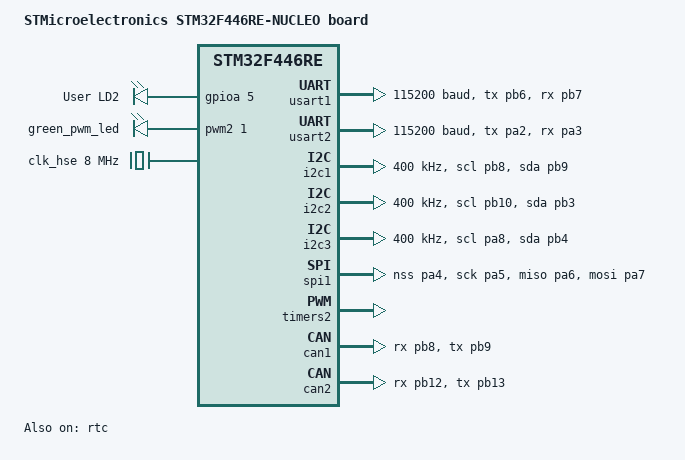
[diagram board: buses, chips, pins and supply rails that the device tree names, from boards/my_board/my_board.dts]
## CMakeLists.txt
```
cmake_minimum_required(VERSION 3.20.0)

list(APPEND BOARD_ROOT ${CMAKE_CURRENT_SOURCE_DIR})
# Find the Zephyr package using the environment variable
find_package(Zephyr REQUIRED HINTS $ENV{ZEPHYR_BASE})

project(zephyr_course_app)

# Add your source files (using main.cpp since you created a C++ file earlier)
target_sources(app PRIVATE 
                    src/main.c
                    
                    )
```

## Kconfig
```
config APP_HEARTBEAT_PERIOD_MS
int "Heart Beat LED periodin (MS)"
default 500 
range 100 2000








source "Kconfig.zephyr"

# menuconfig LED_SUBSYSTEM
# bool "Led Subsystem"
# default y
# help 
#     Enable led subsystem 
# if LED_SUBSYSTEM
# choice LED_BLINK_TIME
#     prompt "LED Blink sleep time"
#     default BLINK_1S

# config BLINK_250MS
#     bool "250ms (Fast)"

# config BLINK_500MS
#     bool "500ms"

# config BLINK_1S
#     bool "1s (mediun)"
    

# config BLINK_2S
#     bool "2 (Slow)"

# endchoice

# config BLINK_SLEEP_TIME_MS
#     int 
#     default 250 if BLINK_250MS
#     default 500 if BLINK_500MS
#     default 1000 if BLINK_1S
#     default 2000 if BLINK_2S

# menuconfig LED_ADVANCED
# bool "Advanced LED Settings"
# if LED_ADVANCED
# config LED_BRIGHTNESS
#     int "LED brightness (0-100)"
#     range 0 100
#     default 100

# config LED_FADE_MS
#     int "LED fade duration (ms)"
#     range 0 5000
#     default 500
# endif 
# menu "Expert settings"
#     visible if LED_ADVANCED 

# config LED_DEBUG
#     bool "ENable LEd Debugging"


# config LED_CUSTOM_PATTERN 
#     bool "Custom blink pattern"
# endmenu
# endif


# choice 
#     prompt "Led blink speed"
#     default BLINK_SPEEED_1000MS

# config BLINK_SPEEED_250MS
#     bool "fast"

# config BLINK_SPEEED_1000MS
#     bool "medium"

# config BLINK_SPEEED_2000MS
#     bool "Slow"


# endchoice 





# config BLINK_SLEEP_TIME_MS
#     int 
#     default 250 if BLINK_SPEEED_250MS
#     default 1000 if BLINK_SPEEED_1000MS
#     default 2000 if BLINK_SPEEED_2000MS
#     default 0
```

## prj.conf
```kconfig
CONFIG_GPIO=y
CONFIG_LOG=y


# CONFIG_BLINK_1S=y

##that cause error because it hidden 
##CONFIG_BLINK_SLEEP_TIME_MS=1000
```

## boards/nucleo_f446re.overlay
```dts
&leds {
    blue_led: led_3 {
        gpios = <&gpioa 6 GPIO_ACTIVE_HIGH>;
    };
    red_led: led_5 {
        gpios = <&gpioa 7 GPIO_ACTIVE_HIGH>;
    };
};
```

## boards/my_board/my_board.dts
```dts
/*
 * Copyright (c) 2018 Philémon Jaermann
 *
 * SPDX-License-Identifier: Apache-2.0
 */

/dts-v1/;
#include <st/f4/stm32f446Xe.dtsi>
#include <st/f4/stm32f446r(c-e)tx-pinctrl.dtsi>

#include <zephyr/dt-bindings/input/input-event-codes.h>

/ {
	model = "STMicroelectronics STM32F446RE-NUCLEO board";
	compatible = "st,stm32f446re-nucleo";

	chosen {
		zephyr,console = &usart2;
		zephyr,shell-uart = &usart2;
		zephyr,sram = &sram0;
		zephyr,flash = &flash0;
		
		zephyr,code-partition = &slot0_partition;
	};

	leds: leds {
		compatible = "gpio-leds";

		green_led_2: led_2 {
			gpios = <&gpioa 5 GPIO_ACTIVE_HIGH>;
			label = "User LD2";
		};
	};

	pwmleds {
		compatible = "pwm-leds";

		green_pwm_led: green_pwm_led {
			pwms = <&pwm2 1 PWM_MSEC(20) PWM_POLARITY_NORMAL>;
		};
	};

	

	aliases {
		led0 = &green_led_2;
		pwm-led0 = &green_pwm_led;
		
	};
};

&clk_lsi {
	status = "okay";
};

&clk_hse {
	hse-bypass;
	clock-frequency = <DT_FREQ_M(8)>; /* STLink 8MHz clock */
	status = "okay";
};

&pll {
	div-m = <8>;
	mul-n = <384>;
	div-p = <4>;
	div-q = <8>;
	clocks = <&clk_hse>;
	status = "okay";
};

&rcc {
	clocks = <&pll>;
	clock-frequency = <DT_FREQ_M(96)>;
	ahb-prescaler = <1>;
	apb1-prescaler = <4>;
	apb2-prescaler = <2>;
};

&usart1 {
	pinctrl-0 = <&usart1_tx_pb6 &usart1_rx_pb7>;
	pinctrl-names = "default";
	current-speed = <115200>;
	status = "okay";
};

&usart2 {
	pinctrl-0 = <&usart2_tx_pa2 &usart2_rx_pa3>;
	pinctrl-names = "default";
	current-speed = <115200>;
	status = "okay";
};

&i2c1 {
	pinctrl-0 = <&i2c1_scl_pb8 &i2c1_sda_pb9>;
	pinctrl-names = "default";
	clock-frequency = <I2C_BITRATE_FAST>;
	scl-gpios = <&gpiob 8 GPIO_ACTIVE_HIGH>;
	sda-gpios = <&gpiob 9 GPIO_ACTIVE_HIGH>;
	status = "okay";
};

&i2c2 {
	pinctrl-0 = <&i2c2_scl_pb10 &i2c2_sda_pb3>;
	pinctrl-names = "default";
	clock-frequency = <I2C_BITRATE_FAST>;
	scl-gpios = <&gpiob 10 GPIO_ACTIVE_HIGH>;
	sda-gpios = <&gpiob 3 GPIO_ACTIVE_HIGH>;
	status = "okay";
};

&i2c3 {
	pinctrl-0 = <&i2c3_scl_pa8 &i2c3_sda_pb4>;
	pinctrl-names = "default";
	clock-frequency = <I2C_BITRATE_FAST>;
	scl-gpios = <&gpioa 8 GPIO_ACTIVE_HIGH>;
	sda-gpios = <&gpiob 4 GPIO_ACTIVE_HIGH>;
	status = "okay";
};

&spi1 {
	pinctrl-0 = <&spi1_nss_pa4 &spi1_sck_pa5
		     &spi1_miso_pa6 &spi1_mosi_pa7>;
	pinctrl-names = "default";
	status = "okay";
};

&timers2 {
	status = "okay";

	pwm2: pwm {
		status = "okay";
		pinctrl-0 = <&tim2_ch1_pa5>;
		pinctrl-names = "default";
	};
};

&rtc {
	clocks = <&rcc STM32_CLOCK(APB1, 28)>,
		 <&rcc STM32_SRC_LSI RTC_SEL(2)>;
	status = "okay";
};

&backup_sram {
	status = "okay";
};

&can1 {
	/* CAUTION: PB8 and PB9 may conflict with same pins of I2C1 */
	pinctrl-0 = <&can1_rx_pb8 &can1_tx_pb9>;
	pinctrl-names = "default";
	status = "okay";
};

&can2 {
	pinctrl-0 = <&can2_rx_pb12 &can2_tx_pb13>;
	pinctrl-names = "default";
	status = "okay";
};

&flash0 {
	partitions {
		#address-cells = <1>;
		#size-cells = <1>;
		ranges;

		/* Sectors 0 and 1 (2x16kByte) */
		boot_partition: partition@0 {
			compatible = "zephyr,mapped-partition";
			label = "mcuboot";
			reg = <0x00000000 DT_SIZE_K(32)>;
			read-only;
		};

		/* Sectors 2 and 3 (2x16kByte) */
		storage_partition: partition@8000 {
			compatible = "zephyr,mapped-partition";
			label = "storage";
			reg = <0x00008000 DT_SIZE_K(32)>;
		};

		/* Sector 4 (64kByte): spare/unused */

		/* Sector 5 (128kByte) */
		slot0_partition: partition@20000 {
			compatible = "zephyr,mapped-partition";
			label = "image-0";
			reg = <0x00020000 DT_SIZE_K(128)>;
		};

		/* Sector 6 (128kByte) */
		slot1_partition: partition@40000 {
			compatible = "zephyr,mapped-partition";
			label = "image-1";
			reg = <0x00040000 DT_SIZE_K(128)>;
		};

		/* Sector 7 (128kByte) */
		scratch_partition: partition@60000 {
			compatible = "zephyr,mapped-partition";
			label = "image-scratch";
			reg = <0x00060000 DT_SIZE_K(128)>;
		};
	};
};
```

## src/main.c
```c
#include <zephyr/kernel.h>
#include <zephyr/sys/printk.h>

int main(void)
{
    printk("Hello World!\n");
    return 0;
}
```

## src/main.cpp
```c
/*
 * Copyright (c) 2016 Intel Corporation
 * SPDX-License-Identifier: Apache-2.0
 */

 //commenting that because i use new board from scratch so its simple one
 #if 1

#include <stdio.h>
#include <zephyr/kernel.h>
#include <zephyr/drivers/gpio.h>
#include <zephyr/devicetree.h>

// /* Get node identifiers for all three LEDs using aliases or node labels */
// #define LED0_NODE DT_ALIAS(led0)                  /* Board's default user LED */
// #define BLUE_LED_NODE DT_NODELABEL(blue_led)      /* Custom blue LED from overlay */
// #define RED_LED_NODE DT_NODELABEL(red_led)        /* Custom red LED from overlay */

#define APP_LED_NODE DT_ALIAS(app_led)

/* Initialize GPIO specifications for each LED */
// static const struct gpio_dt_spec led0 = GPIO_DT_SPEC_GET(LED0_NODE, gpios);
// static const struct gpio_dt_spec blue_led = GPIO_DT_SPEC_GET(BLUE_LED_NODE, gpios);
// static const struct gpio_dt_spec red_led = GPIO_DT_SPEC_GET(RED_LED_NODE, gpios);

static const struct gpio_dt_spec led=GPIO_DT_SPEC_GET(APP_LED_NODE, gpios);

int main(void)
{

int ret;

    if (!gpio_is_ready_dt(&led)) {
        printf("Error: LED device not ready!\n");
        return 0;
    }
    
    ret = gpio_pin_configure_dt(&led, GPIO_OUTPUT_ACTIVE);
    if (ret < 0) {
        return 0;
    }

    printf("Heartbeat LED started with period: %d ms\n", CONFIG_APP_HEARTBEAT_PERIOD_MS);

    while (1) {
        ret = gpio_pin_toggle_dt(&led);
        if (ret < 0) {
            return 0;
        }

        /* Use the Kconfig macro for sleep duration */
        k_msleep(CONFIG_APP_HEARTBEAT_PERIOD_MS);
    }


    #if 0
    // int ret;

    // /* Verify that all LED devices are ready */
    // if (!gpio_is_ready_dt(&led0) || !gpio_is_ready_dt(&blue_led) || !gpio_is_ready_dt(&red_led)) {
    //     printf("Error: One or more LED GPIO controllers are not ready!\n");
    //     return 0;
    // }
    
    // /* Configure all LED pins as outputs */
    // ret = gpio_pin_configure_dt(&led0, GPIO_OUTPUT_ACTIVE);
    // if (ret < 0) return 0;

    // ret = gpio_pin_configure_dt(&blue_led, GPIO_OUTPUT_INACTIVE);
    // if (ret < 0) return 0;

    // ret = gpio_pin_configure_dt(&red_led, GPIO_OUTPUT_INACTIVE);
    // if (ret < 0) return 0;

    // printf("Starting multi-LED toggle sequence...\n");

    // while (1) {
    //     /* Toggle all three LEDs */
    //     gpio_pin_toggle_dt(&led0);
    //     gpio_pin_toggle_dt(&blue_led);
    //     gpio_pin_toggle_dt(&red_led);

    //     printf("Toggled LEDs state.\n");
    //     k_msleep(CONFIG_BLINK_SLEEP_TIME_MS); /* Wait 1 second */
    // }
    #endif
    return 0;
}

#endif



// #include <zephyr/kernel.h>
// #include <zephyr/sys/printk.h>

// int main(void)
// {
//     printk("Hello World!\n");
//     return 0;
// }
```
